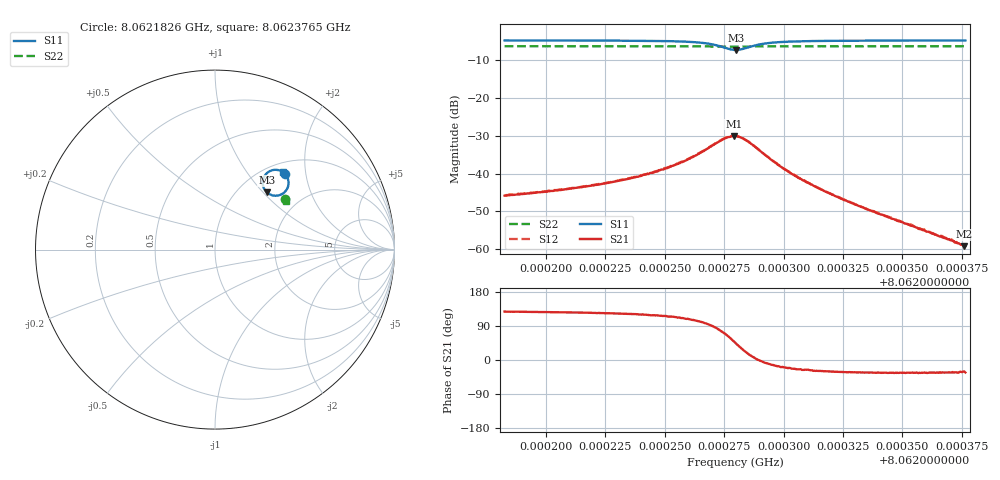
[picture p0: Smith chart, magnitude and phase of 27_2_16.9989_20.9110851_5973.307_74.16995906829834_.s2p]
#  HZ  S  RI  R  50.00
! Rohde & Schwarz Vector Network Analyzer
! Rohde-Schwarz,ZNB20-2Port,1311601062101988,3.16
! Created: UTC 3/20/2024, 10:53:14 PM
! freq[Hz]  re:S11  im:S11  re:S21  im:S21  re:S12  im:S12  re:S22  im:S22
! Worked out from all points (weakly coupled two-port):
!   401 points, 8.0621826 GHz to 8.0623765 GHz, reference 50 ohm
!   highest |S21| = -30.09 dB at 8.0622791 GHz (marker M1); lowest = -59.2 dB at 8.062376 GHz (marker M2)
!   lowest |S11| = -7.3 dB at 8.06228 GHz (marker M3), VSWR 2.51, Z = 66.9 + j52.5 ohm
!   |S11| at or under -10 dB: nowhere
!   |S22| runs from -6.4 to -6.3 dB; largest |S21 - S12| = 0.0024
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8.06218256e9  0.3906 0.4222  -0.00313 0.00404  -0.00291 0.00427  0.3924 0.2806
8.06219517e9  0.3926 0.4197  -0.00334 0.00445  -0.00307 0.0047  0.3929 0.2799
8.06221505e9  0.3967 0.4146  -0.00379 0.00541  -0.0035 0.00575  0.3936 0.2788
8.06223444e9  0.402 0.4057  -0.00445 0.00724  -0.00407 0.0076  0.3942 0.2774
8.06224754e9  0.4067 0.3939  -0.00503 0.00982  -0.00437 0.0102  0.3946 0.2762
8.06225821e9  0.41 0.3746  -0.00491 0.0138  -0.00413 0.0142  0.3948 0.2749
8.06226839e9  0.3997 0.335  -0.00158 0.0217  -6.39e-05 0.022  0.3941 0.2729
8.06227518e9  0.3508 0.3013  0.00991 0.0273  0.012 0.0268  0.3919 0.2719
8.06227906e9  0.2995 0.311  0.0205 0.0236  0.0223 0.0223  0.39 0.273
8.06227954e9  0.2935 0.3151  0.0215 0.0226  0.0234 0.0212  0.3899 0.2732
8.06228003e9  0.2882 0.3198  0.0227 0.0213  0.0242 0.0199  0.3897 0.2735
8.06228197e9  0.2717 0.3431  0.0255 0.016  0.0266 0.0142  0.3894 0.2746
8.06228488e9  0.2658 0.3802  0.0255 0.00793  0.0262 0.00619  0.3898 0.276
8.06229167e9  0.2942 0.4303  0.0181 -0.00193  0.018 -0.00293  0.3922 0.2774
8.06230088e9  0.3289 0.4442  0.0105 -0.00389  0.0103 -0.00451  0.3939 0.277
8.06230718e9  0.3422 0.4445  0.00776 -0.0035  0.0075 -0.00407  0.3948 0.2765
8.06231203e9  0.3496 0.4437  0.00634 -0.00325  0.00606 -0.00365  0.395 0.2761
8.06232464e9  0.3614 0.4407  0.00393 -0.00239  0.00381 -0.00265  0.396 0.2753
8.06233434e9  0.3671 0.4385  0.00289 -0.00188  0.00279 -0.00208  0.3964 0.2746
8.06234452e9  0.3713 0.4365  0.00219 -0.00147  0.0021 -0.00162  0.3969 0.2741
8.06237604e9  0.3794 0.4318  0.000949 -0.000551  0.000929 -0.000634  0.398 0.2724
8.06237653e9  0.3794 0.4318  0.00093 -0.000604  0.000922 -0.000675  0.3982 0.2723
